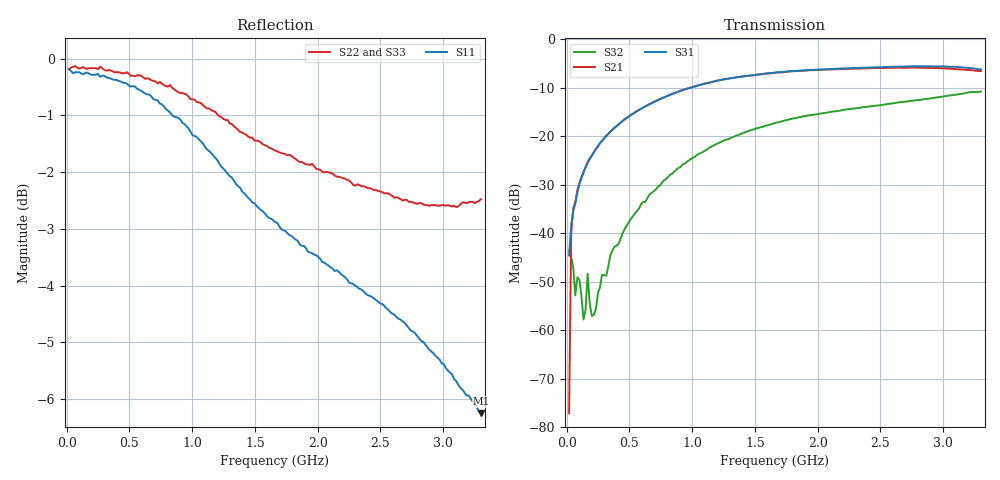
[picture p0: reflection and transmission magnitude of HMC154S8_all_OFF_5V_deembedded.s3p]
!Hittite Microwave Corporation
!12 Elizabeth Drive
!Chelmsford, MA 01824
!Tel: 978-250-3343
!Fax: 978-250-3373
!Device: HMC154S8, DC - 2.5 GHz GaAs MMIC Low Distortion T/R Switch in 8-lead SOIC package
!Misc: Port1=RFC, Port2= RF1, Port3=RF2, ALL OFF, Bias: +5VDC
# MHZ S MA R 50
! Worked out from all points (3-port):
!   201 points, 20 MHz to 3.3 GHz, reference 50 ohm
!   strongest paths, dB at 20 MHz, 840 MHz, 1.66 GHz, 2.48 GHz, 3.3 GHz:
!     S31: -44.6, -11.3, -6.9, -5.7, -6.2
!     S21: -77.2, -11.3, -6.9, -5.9, -6.5
!     S32: -43.5, -27.7, -17.3, -13.6, -10.8
!   lowest |S11| = -6.2 dB at 3.3 GHz (marker M1), VSWR 2.90, Z = 19.9 + j18.3 ohm
!   |S11| at or under -10 dB: nowhere
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20  0.979 -1.5  0.014 66.2  0.015 62.0
    0.0001383 154.9  0.979 -2.6  0.008489 -162.3
    0.005886 27.3  0.006695 156.8  0.978 -2.2
36.4  0.975 -2.3  0.014 79.5  0.015 82.1
      0.009847 118.9  0.982 -3.0  0.004151 149.3
      0.012 63.4  0.005645 103.1  0.983 -2.9
52.8  0.971 -3.2  0.016 90.3  0.016 96.9
      0.018 90.6  0.984 -3.4  0.0009696 95.6
      0.017 93.3  0.004431 51.6  0.986 -3.5
85.6  0.973 -5.2  0.027 87.6  0.027 88.6
      0.028 89.1  0.982 -5.2  0.003806 51.8
      0.026 88.1  0.00351 57.3  0.981 -5.3
134.8  0.969 -8.1  0.042 83.7  0.042 83.8
       0.043 83.9  0.983 -8.2  0.001472 68.7
       0.042 84.2  0.001285 73.2  0.979 -8.3
167.6  0.972 -9.8  0.054 80.5  0.054 81.2
       0.055 81.7  0.98 -10.2  0.003618 51.4
       0.053 81.0  0.003815 56.2  0.977 -10.2
216.8  0.968 -13.0  0.069 77.9  0.068 78.1
       0.069 78.2  0.981 -13.1  0.00201 68.7
       0.068 78.2  0.001434 82.5  0.977 -13.2
659.6  0.93 -40.4  0.215 49.9  0.214 49.9
       0.215 49.8  0.96 -41.5  0.024 119.6
       0.214 49.8  0.025 119.3  0.959 -41.7
1660  0.718 -105.8  0.451 -18.9  0.453 -19.1
      0.452 -18.9  0.83 -114.9  0.136 37.3
      0.453 -19.1  0.137 37.0  0.83 -115.7
3300  0.487 133.9  0.47 -115.4  0.49 -118.6
      0.471 -115.4  0.752 149.1  0.288 -82.5
      0.49 -118.6  0.289 -82.8  0.721 153.0
